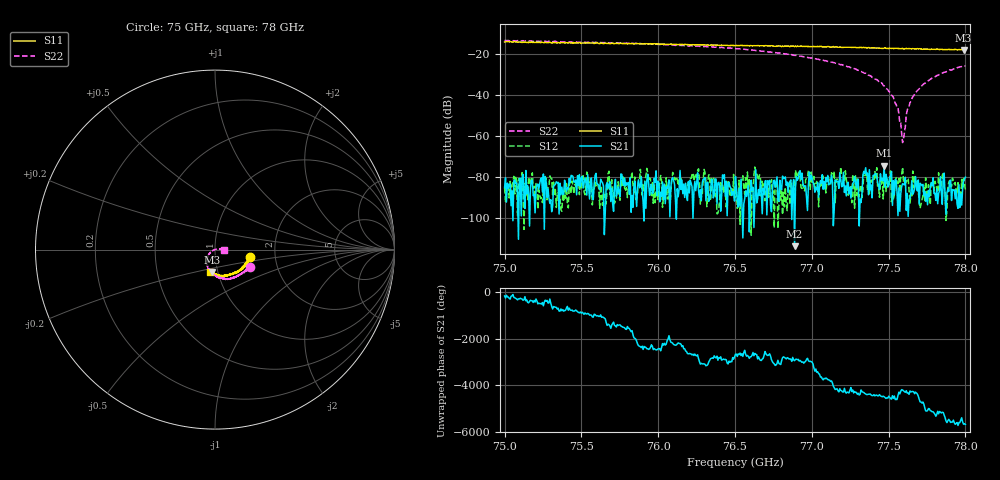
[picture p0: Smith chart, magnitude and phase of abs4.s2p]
# Hz S MA R 50
! CMT, C4420, 21421029, 25.1.2/3
! Date: 8/7/2025 12:43:32 PM
! Data: Format (Calibration Info)
! Freq	S33:Mag/Ang(F2)	S43:Mag/Ang(F2)	S34:Mag/Ang(F2)	S44:Mag/Ang(F2)
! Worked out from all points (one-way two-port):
!   500 points, 75 GHz to 78 GHz, reference 50 ohm
!   highest |S21| = -74.44 dB at 77.471 GHz (marker M1); lowest = -113.8 dB at 76.888 GHz (marker M2)
!   lowest |S11| = -18.0 dB at 77.988 GHz (marker M3), VSWR 1.29, Z = 46.7 - j11.9 ohm
!   |S11| at or under -10 dB: start of sweep to end of sweep
!   |S22| runs from -63.2 to -13.3 dB; largest |S21 - S12| = 0.00018
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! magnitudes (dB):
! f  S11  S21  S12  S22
! 75 GHz  -14.1  -85.1  -85.4  -13.3
! 75.505 GHz  -14.5  -79.7  -85.1  -14.1
! 76.004 GHz  -15.1  -82.6  -89.0  -15.2
! 76.503 GHz  -15.8  -79.7  -85.8  -17.3
! 76.635 GHz  -15.9  -76.5  -77.8  -18.3
! 76.683 GHz  -15.9  -85.5  -87.0  -18.5
! 76.888 GHz  -16.3  -113.8  -86.2  -20.6
! 77.002 GHz  -16.3  -80.6  -82.6  -21.9
! 77.285 GHz  -16.7  -82.2  -79.5  -27.3
! 77.351 GHz  -16.7  -75.5  -79.1  -29.3
! 77.393 GHz  -16.9  -90.2  -81.5  -31.3
! 77.471 GHz  -17.0  -74.4  -80.3  -35.5
! 77.501 GHz  -17.3  -84.2  -82.2  -38.2
! 77.549 GHz  -17.1  -81.5  -80.3  -44.4
! 77.567 GHz  -17.2  -85.4  -80.6  -49.3
! 77.585 GHz  -17.3  -84.6  -78.9  -58.9
! 77.597 GHz  -17.4  -83.6  -82.4  -60.9
! 77.627 GHz  -17.3  -99.3  -81.0  -46.0
! 77.693 GHz  -17.5  -81.5  -86.5  -37.3
! 77.802 GHz  -17.7  -88.0  -82.1  -31.0
! 77.988 GHz  -18.0  -82.0  -80.7  -25.5
! 78 GHz  -17.8  -80.1  -86.2  -25.7
